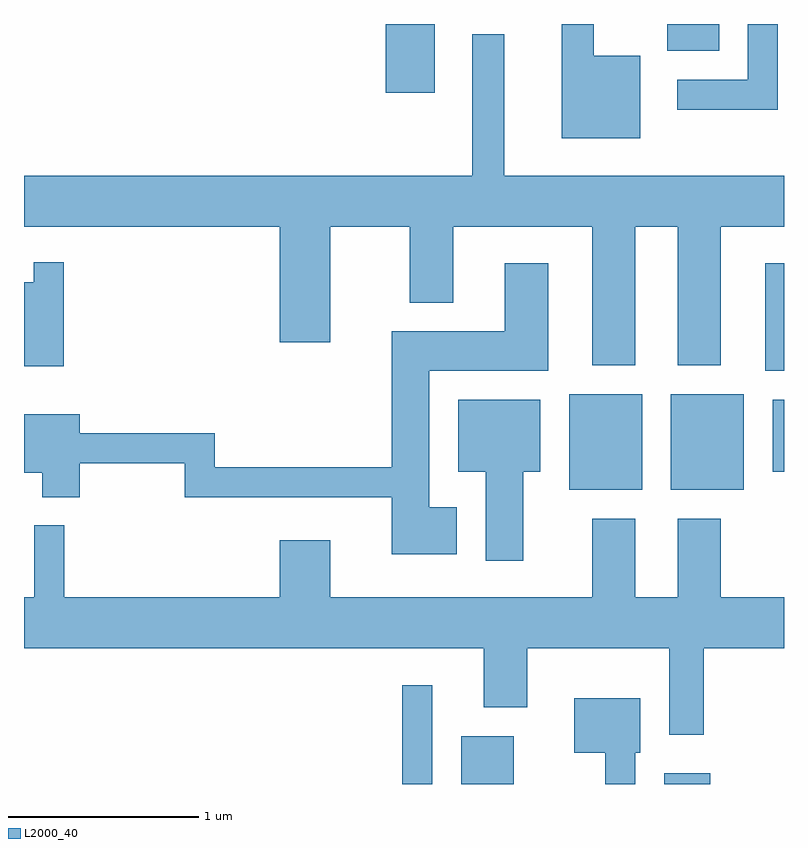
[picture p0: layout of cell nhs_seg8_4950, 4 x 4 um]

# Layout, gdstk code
import gdstk
lib = gdstk.Library(unit=1e-6, precision=1e-09)
def R(c, l, rs):  # rectangles x0, y0, x1, y1
    for r in rs: c.add(gdstk.rectangle(r[:2], r[2:], *l))
def P(c, l, *ps):  # polygons
    for p in ps: c.add(gdstk.Polygon(p, *l))
L2000_40 = (2000, 40)

nhs_seg8_4950 = lib.new_cell('nhs_seg8_4950')
R(nhs_seg8_4950, L2000_40, [(335.601,1862.342,335.759,1862.863), (335.911,1862.342,336.189,1862.594), (336.981,1862.342,337.224,1862.399), (336.481,1863.891,336.864,1864.394), (337.016,1863.891,337.399,1864.394), (337.551,1863.986,337.611,1864.364), (337.511,1864.516,337.611,1865.084), (335.516,1865.981,335.774,1866.342), (336.996,1866.201,337.269,1866.342)])
P(nhs_seg8_4950, L2000_40, [(337.579,1866.342),(337.421,1866.342),(337.421,1866.049),(337.048,1866.049),(337.048,1865.891),(337.579,1865.891)],
  [(336.854,1866.174),(336.609,1866.174),(336.609,1866.342),(336.441,1866.342),(336.441,1865.741),(336.854,1865.741)],
  [(335.971,1866.288),(335.971,1865.544),(333.611,1865.544),(333.611,1865.276),(334.956,1865.276),(334.956,1864.666),(335.224,1864.666),(335.224,1865.276),(335.641,1865.276),(335.641,1864.876),(335.869,1864.876),(335.869,1865.276),(336.601,1865.276),(336.601,1864.546),(336.829,1864.546),(336.829,1865.276),(337.051,1865.276),(337.051,1864.546),(337.279,1864.546),(337.279,1865.276),(337.611,1865.276),(337.611,1865.544),(336.139,1865.544),(336.139,1866.288)],
  [(333.819,1865.088),(333.661,1865.088),(333.661,1864.984),(333.611,1864.984),(333.611,1864.541),(333.819,1864.541)],
  [(335.889,1863.799),(335.744,1863.799),(335.744,1864.516),(336.369,1864.516),(336.369,1865.084),(336.141,1865.084),(336.141,1864.724),(335.546,1864.724),(335.546,1864.009),(334.614,1864.009),(334.614,1864.189),(333.904,1864.189),(333.904,1864.289),(333.611,1864.289),(333.611,1863.981),(333.706,1863.981),(333.706,1863.851),(333.904,1863.851),(333.904,1864.031),(334.456,1864.031),(334.456,1863.851),(335.546,1863.851),(335.546,1863.551),(335.889,1863.551)],
  [(336.239,1863.986),(336.329,1863.986),(336.329,1864.364),(335.896,1864.364),(335.896,1863.986),(336.041,1863.986),(336.041,1863.516),(336.239,1863.516)],
  [(337.189,1863.056),(337.611,1863.056),(337.611,1863.324),(337.279,1863.324),(337.279,1863.739),(337.051,1863.739),(337.051,1863.324),(336.829,1863.324),(336.829,1863.739),(336.601,1863.739),(336.601,1863.324),(335.224,1863.324),(335.224,1863.624),(334.956,1863.624),(334.956,1863.324),(333.824,1863.324),(333.824,1863.703),(333.666,1863.703),(333.666,1863.324),(333.611,1863.324),(333.611,1863.056),(336.031,1863.056),(336.031,1862.746),(336.259,1862.746),(336.259,1863.056),(337.006,1863.056),(337.006,1862.601),(337.189,1862.601)],
  [(336.829,1862.506),(336.854,1862.506),(336.854,1862.794),(336.506,1862.794),(336.506,1862.506),(336.671,1862.506),(336.671,1862.342),(336.829,1862.342)])

lib.write_gds('nhs_seg8_4950.gds')
